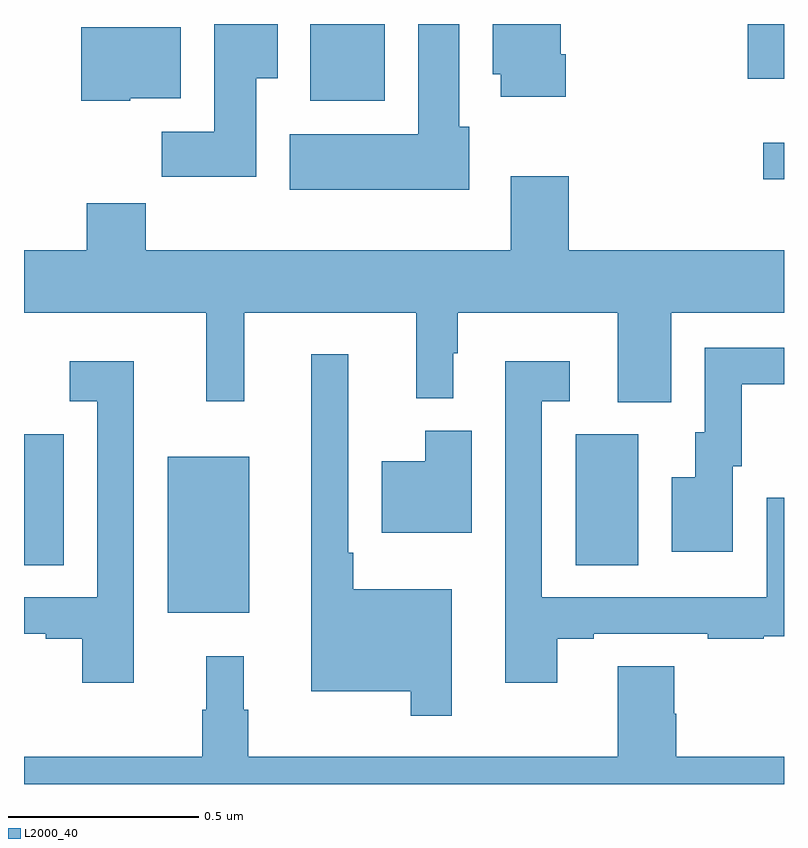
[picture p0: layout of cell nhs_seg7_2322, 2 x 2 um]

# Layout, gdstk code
import gdstk
lib = gdstk.Library(unit=1e-6, precision=1e-09)
def R(c, l, rs):  # rectangles x0, y0, x1, y1
    for r in rs: c.add(gdstk.rectangle(r[:2], r[2:], *l))
def P(c, l, *ps):  # polygons
    for p in ps: c.add(gdstk.Polygon(p, *l))
L2000_40 = (2000, 40)

nhs_seg7_2322 = lib.new_cell('nhs_seg7_2322')
R(nhs_seg7_2322, L2000_40, [(143.378,1042.451,143.593,1042.861), (143,1042.576,143.104,1042.92), (144.452,1042.576,144.616,1042.92), (144.945,1043.592,145,1043.688), (143.753,1043.798,143.949,1044), (144.905,1043.856,145,1044)])
P(nhs_seg7_2322, L2000_40, [(143.611,1043.857),(143.668,1043.857),(143.668,1044),(143.501,1044),(143.501,1043.716),(143.362,1043.716),(143.362,1043.598),(143.611,1043.598)],
  [(144.425,1043.92),(144.412,1043.92),(144.412,1044),(144.233,1044),(144.233,1043.868),(144.254,1043.868),(144.254,1043.808),(144.425,1043.808)],
  [(144.172,1043.73),(144.145,1043.73),(144.145,1044),(144.038,1044),(144.038,1043.71),(143.699,1043.71),(143.699,1043.564),(144.172,1043.564)],
  [(143.28,1043.804),(143.413,1043.804),(143.413,1043.992),(143.15,1043.992),(143.15,1043.798),(143.28,1043.798)],
  [(144.703,1043.24),(145,1043.24),(145,1043.404),(144.434,1043.404),(144.434,1043.599),(144.281,1043.599),(144.281,1043.404),(143.321,1043.404),(143.321,1043.528),(143.165,1043.528),(143.165,1043.404),(143,1043.404),(143,1043.24),(143.48,1043.24),(143.48,1043.007),(143.579,1043.007),(143.579,1043.24),(144.032,1043.24),(144.032,1043.015),(144.13,1043.015),(144.13,1043.133),(144.142,1043.133),(144.142,1043.24),(144.563,1043.24),(144.563,1043.005),(144.703,1043.005)],
  [(144.865,1042.836),(144.889,1042.836),(144.889,1043.052),(145,1043.052),(145,1043.148),(144.792,1043.148),(144.792,1042.926),(144.767,1042.926),(144.767,1042.807),(144.704,1042.807),(144.704,1042.611),(144.865,1042.611)],
  [(144.126,1042.513),(143.866,1042.513),(143.866,1042.609),(143.853,1042.609),(143.853,1043.131),(143.756,1043.131),(143.756,1042.244),(144.018,1042.244),(144.018,1042.179),(144.126,1042.179)],
  [(144.403,1042.382),(144.499,1042.382),(144.499,1042.395),(144.799,1042.395),(144.799,1042.382),(144.947,1042.382),(144.947,1042.389),(145,1042.389),(145,1042.753),(144.954,1042.753),(144.954,1042.491),(144.363,1042.491),(144.363,1043.007),(144.436,1043.007),(144.436,1043.113),(144.267,1043.113),(144.267,1042.488),(144.266,1042.488),(144.266,1042.266),(144.403,1042.266)],
  [(143.289,1043.113),(143.121,1043.113),(143.121,1043.007),(143.193,1043.007),(143.193,1042.491),(143,1042.491),(143,1042.395),(143.057,1042.395),(143.057,1042.382),(143.153,1042.382),(143.153,1042.266),(143.289,1042.266)],
  [(144.178,1042.93),(144.056,1042.93),(144.056,1042.849),(143.942,1042.849),(143.942,1042.661),(144.178,1042.661)],
  [(145,1042.072),(144.716,1042.072),(144.716,1042.185),(144.711,1042.185),(144.711,1042.31),(144.563,1042.31),(144.563,1042.072),(143.59,1042.072),(143.59,1042.196),(143.578,1042.196),(143.578,1042.336),(143.48,1042.336),(143.48,1042.196),(143.469,1042.196),(143.469,1042.072),(143,1042.072),(143,1042),(145,1042)])

lib.write_gds('nhs_seg7_2322.gds')
